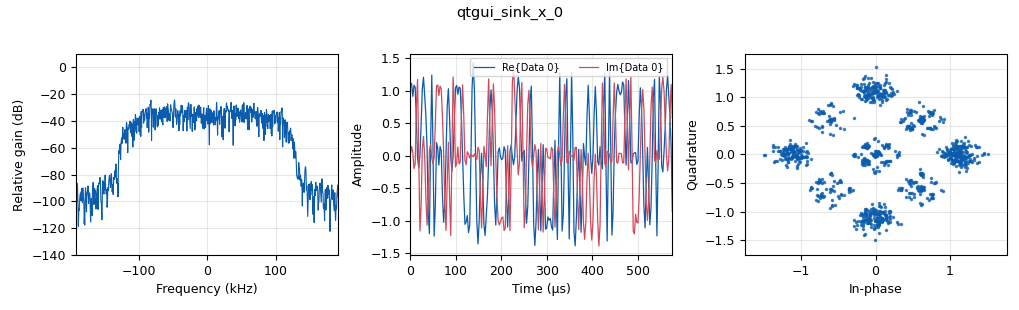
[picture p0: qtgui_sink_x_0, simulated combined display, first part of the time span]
options:
  parameters:
    generate_options: qt_gui
    id: test
    output_language: python
    title: Not titled yet
  states: {}

blocks:
- name: samp_rate
  id: variable
  parameters:
    value: '48000'
  states: {}
- name: analog_random_source_x_0
  id: analog_random_source_x
  parameters:
    max: '255'
    min: '0'
    num_samps: '1000'
    repeat: 'True'
    type: byte
  states: {}
- name: blocks_complex_to_float_0
  id: blocks_complex_to_float
  parameters: {}
  states: {}
- name: blocks_throttle_0_0
  id: blocks_throttle
  parameters:
    samples_per_second: samp_rate
    type: complex
  states: {}
- name: blocks_wavfile_sink_0
  id: blocks_wavfile_sink
  parameters:
    bits_per_sample: '8'
    file: /home/fabian/spectrum-sensing-salsat/code/samples/gnu_psk_1.wav
    nchan: '2'
    samp_rate: samp_rate
  states: {}
- name: digital_psk_mod_0
  id: digital_psk_mod
  parameters:
    constellation_points: '4'
    differential: 'True'
    excess_bw: '0.35'
    mod_code: '"gray"'
    samples_per_symbol: '2'
  states: {}
- name: qtgui_sink_x_0
  id: qtgui_sink_x
  parameters:
    bw: samp_rate*8
    fc: '0'
    fftsize: '1024'
    showrf: 'True'
    type: complex
    wintype: firdes.WIN_BLACKMAN_hARRIS
  states: {}

connections:
- [analog_random_source_x_0, '0', digital_psk_mod_0, '0']
- [blocks_complex_to_float_0, '0', blocks_wavfile_sink_0, '0']
- [blocks_complex_to_float_0, '1', blocks_wavfile_sink_0, '1']
- [blocks_throttle_0_0, '0', blocks_complex_to_float_0, '0']
- [blocks_throttle_0_0, '0', qtgui_sink_x_0, '0']
- [digital_psk_mod_0, '0', blocks_throttle_0_0, '0']

metadata:
  file_format: 1
